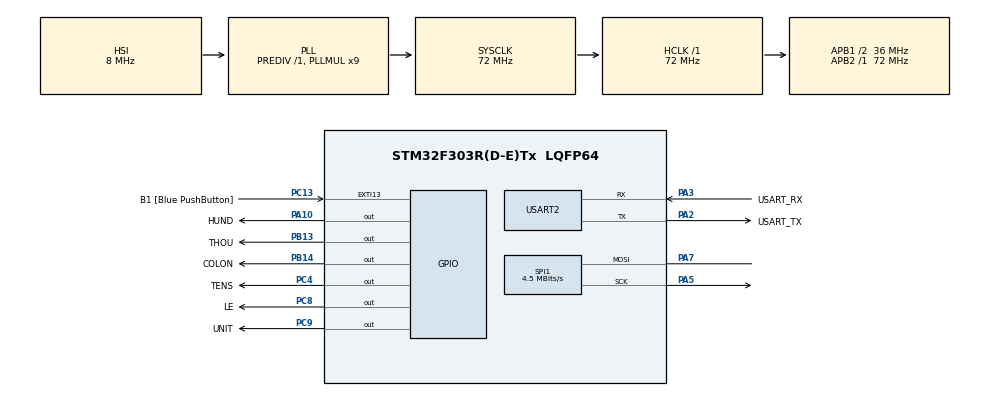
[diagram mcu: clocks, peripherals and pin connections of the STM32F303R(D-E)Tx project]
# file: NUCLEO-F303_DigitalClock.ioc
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ADC1.Channel-2\#ChannelRegularConversion=ADC_CHANNEL_TEMPSENSOR
ADC1.Channel-3\#ChannelRegularConversion=ADC_CHANNEL_VREFINT
ADC1.ContinuousConvMode=ENABLE
ADC1.DMAContinuousRequests=ENABLE
ADC1.NbrOfConversion=2
ADC1.NbrOfConversionFlag=1
ADC1.Offset-2\#ChannelRegularConversion=0
ADC1.Offset-3\#ChannelRegularConversion=0
ADC1.OffsetNumber-2\#ChannelRegularConversion=ADC_OFFSET_NONE
ADC1.OffsetNumber-3\#ChannelRegularConversion=ADC_OFFSET_NONE
ADC1.Rank-2\#ChannelRegularConversion=1
ADC1.Rank-3\#ChannelRegularConversion=2
ADC1.SamplingTime-2\#ChannelRegularConversion=ADC_SAMPLETIME_601CYCLES_5
ADC1.SamplingTime-3\#ChannelRegularConversion=ADC_SAMPLETIME_601CYCLES_5
ADC1.SamplingTimeOPAMP-3\#ChannelRegularConversion=ADC_SAMPLETIME_61CYCLES_5
ADC1.master=1
Dma.ADC1.0.Direction=DMA_PERIPH_TO_MEMORY
Dma.ADC1.0.Instance=DMA1_Channel1
Dma.ADC1.0.MemDataAlignment=DMA_MDATAALIGN_HALFWORD
Dma.ADC1.0.MemInc=DMA_MINC_ENABLE
Dma.ADC1.0.Mode=DMA_CIRCULAR
Dma.ADC1.0.PeriphDataAlignment=DMA_PDATAALIGN_HALFWORD
Dma.ADC1.0.PeriphInc=DMA_PINC_DISABLE
Dma.ADC1.0.Priority=DMA_PRIORITY_LOW
Dma.Request0=ADC1
Mcu.Family=STM32F3
Mcu.Name=STM32F303R(D-E)Tx
Mcu.Package=LQFP64
NVIC.DMA1_Channel1_IRQn=true\:0\:0\:false\:false\:true\:false\:true\:true
NVIC.PriorityGroup=NVIC_PRIORITYGROUP_0
NVIC.RTC_Alarm_IRQn=true\:0\:0\:false\:false\:true\:true\:true\:true
NVIC.TIM3_IRQn=true\:0\:0\:false\:false\:true\:true\:true\:true
PA10.GPIO_Label=HUND
PA10.Signal=GPIO_Output
PA13.GPIO_Label=TMS
PA13.Mode=Serial_Wire
PA13.Signal=SYS_JTMS-SWDIO
PA14.GPIO_Label=TCK
PA14.Mode=Serial_Wire
PA14.Signal=SYS_JTCK-SWCLK
PA2.GPIO_Label=USART_TX
PA2.GPIO_Mode=GPIO_MODE_AF_PP
PA2.GPIO_PuPd=GPIO_NOPULL
PA2.GPIO_Speed=GPIO_SPEED_FREQ_LOW
PA2.Mode=Asynchronous
PA2.Signal=USART2_TX
PA3.GPIO_Label=USART_RX
PA3.GPIO_Mode=GPIO_MODE_AF_PP
PA3.GPIO_PuPd=GPIO_NOPULL
PA3.GPIO_Speed=GPIO_SPEED_FREQ_LOW
PA3.Mode=Asynchronous
PA3.Signal=USART2_RX
PA5.Mode=Simplex_Bidirectional_Master
PA5.Signal=SPI1_SCK
PA7.Mode=Simplex_Bidirectional_Master
PA7.Signal=SPI1_MOSI
PB13.GPIO_Label=THOU
PB13.Signal=GPIO_Output
PB14.GPIO_Label=COLON
PB14.Signal=GPIO_Output
PB3.GPIO_Label=SWO
PB3.Signal=SYS_JTDO-TRACESWO
PC13.GPIO_Label=B1 [Blue PushButton]
PC13.GPIO_ModeDefaultEXTI=GPIO_MODE_IT_FALLING
PC13.Signal=GPXTI13
PC14-OSC32_IN.Mode=LSE-External-Oscillator
PC14-OSC32_IN.Signal=RCC_OSC32_IN
PC15-OSC32_OUT.Mode=LSE-External-Oscillator
PC15-OSC32_OUT.Signal=RCC_OSC32_OUT
PC4.GPIO_Label=TENS
PC4.Signal=GPIO_Output
PC8.GPIO_Label=LE
PC8.Signal=GPIO_Output
PC9.GPIO_Label=UNIT
PC9.Signal=GPIO_Output
PF0-OSC_IN.Mode=HSE-External-Clock-Source
PF0-OSC_IN.Signal=RCC_OSC_IN
PF1-OSC_OUT.Signal=RCC_OSC_OUT
ProjectManager.HeapSize=0x200
ProjectManager.StackSize=0x400
ProjectManager.TargetToolchain=CMake
RCC.AHBFreq_Value=72000000
RCC.APB1CLKDivider=RCC_HCLK_DIV2
RCC.APB1Freq_Value=36000000
RCC.APB1TimFreq_Value=72000000
RCC.APB2Freq_Value=72000000
RCC.APB2TimFreq_Value=72000000
RCC.CortexFreq_Value=72000000
RCC.HCLKFreq_Value=72000000
RCC.HSE_VALUE=8000000
RCC.HSI_VALUE=8000000
RCC.PLLM=8
RCC.PLLMUL=RCC_PLL_MUL9
RCC.PLLN=336
RCC.PLLP=RCC_PLLP_DIV4
RCC.PLLQ=7
RCC.RCC_PLLsource_Clock_Source_FROM_HSE=RCC_HSE_PREDIV_DIV2
RCC.RTCClockSelection=RCC_RTCCLKSOURCE_LSE
RCC.SYSCLKFreq_VALUE=72000000
RCC.SYSCLKSourceVirtual=RCC_SYSCLKSOURCE_PLLCLK
RCC.USBFreq_Value=72000000
RTC.Alarm-Alarm\ A=RTC_ALARM_A
RTC.AlarmMaskDateWeekDay-Alarm\ A=RTC_ALARMMASK_DATEWEEKDAY
RTC.AlarmMaskHours-Alarm\ A=RTC_ALARMMASK_HOURS
RTC.AlarmMaskMinutes-Alarm\ A=RTC_ALARMMASK_MINUTES
RTC.AlarmMaskSeconds-Alarm\ A=RTC_ALARMMASK_SECONDS
SPI1.BaudRatePrescaler=SPI_BAUDRATEPRESCALER_16
SPI1.CalculateBaudRate=4.5 MBits/s
SPI1.DataSize=SPI_DATASIZE_8BIT
SPI1.Direction=SPI_DIRECTION_1LINE
SPI1.Mode=SPI_MODE_MASTER
SPI1.VirtualType=VM_MASTER
TIM3.Period=360-1
TIM3.Prescaler=1000-1
USART2.VirtualMode-Asynchronous=VM_ASYNC
VP_ADC1_TempSens_Input.Mode=IN-TempSens
VP_ADC1_Vref_Input.Mode=IN-Vrefint
VP_RTC_VS_RTC_Activate.Mode=RTC_Enabled
VP_RTC_VS_RTC_Alarm_A_Intern.Mode=Alarm A
VP_RTC_VS_RTC_Calendar.Mode=RTC_Calendar
VP_TIM3_VS_ClockSourceINT.Mode=Internal
board=NUCLEO-F303RE

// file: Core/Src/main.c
/* USER CODE BEGIN Header */
/**
  ******************************************************************************
  * @file           : main.c
  * @brief          : Main program body
  ******************************************************************************
  * @attention
  *
  * Copyright (c) 2026 STMicroelectronics.
  * All rights reserved.
  *
  * This software is licensed under terms that can be found in the LICENSE file
  * in the root directory of this software component.
  * If no LICENSE file comes with this software, it is provided AS-IS.
  *
  ******************************************************************************
  */
/* USER CODE END Header */
#include "main.h"

/* USER CODE BEGIN Includes */
#include "TLC5917.h"
#include "cmsis_gcc.h"
#include <stdio.h>
/* USER CODE END Includes */

/* USER CODE BEGIN PTD */
typedef enum
{
    MODE_NORMAL,
    MODE_SET_HOURS,
    MODE_SET_MINUTES
} ClockMode;
/* USER CODE END PTD */

/* USER CODE BEGIN PD */
#define ARRAY_SIZE 10
/* USER CODE END PD */

ADC_HandleTypeDef hadc1;
DMA_HandleTypeDef hdma_adc1;

RTC_HandleTypeDef hrtc;

SPI_HandleTypeDef hspi1;

TIM_HandleTypeDef htim3;

UART_HandleTypeDef huart2;

/* USER CODE BEGIN PV */
TLC5917_HandleTypeDef tlc5917;

const uint8_t digitsArray[ARRAY_SIZE] = {0x3F, 0x06, 0x5B, 0x4F, 0x66, 0x6D, 0x7D, 0x07, 0x7F, 0x6F};

static volatile uint8_t thousand = 0x00; // Dígito 3 (Decenas de hora)
static volatile uint8_t hundred  = 0x00; // Dígito 2 (Unidades de hora)
static volatile uint8_t tens     = 0x00; // Dígito 1 (Decenas de minuto)
static volatile uint8_t unit     = 0x00; // Dígito 0 (Unidades de minuto)

static volatile uint8_t digitPin = 0;   // Índice de multiplexación
static volatile _Bool colonBlink = 0;   // Flag de parpadeo controlado por Alarma A

/* Variables de la máquina de estados del reloj */
static ClockMode currentMode = MODE_NORMAL;
static uint8_t setHours = 12;
static uint8_t setMinutes = 0;
/* USER CODE END PV */

void SystemClock_Config(void);
static void MX_GPIO_Init(void);
static void MX_DMA_Init(void);
static void MX_RTC_Init(void);
static void MX_SPI1_Init(void);
static void MX_TIM3_Init(void);
static void MX_USART2_UART_Init(void);
static void MX_ADC1_Init(void);
/* USER CODE BEGIN PFP */
void Display_Off(void);
void RTC_Set_Time(uint8_t hours, uint8_t minutes, uint8_t seconds);
void Update_Display_Segments(void);
void Handle_Button_Setting(void);
/* USER CODE END PFP */

int main(void)
{

  /* MCU Configuration--------------------------------------------------------*/

  /* Reset of all peripherals, Initializes the Flash interface and the Systick. */
  HAL_Init();

  /* Configure the system clock */
  SystemClock_Config();

  /* Initialize all configured peripherals */
  MX_GPIO_Init();
  MX_DMA_Init();
  MX_RTC_Init();
  MX_SPI1_Init();
  MX_TIM3_Init();
  MX_USART2_UART_Init();
  MX_ADC1_Init();
  /* USER CODE BEGIN 2 */
  Display_Off();
  TLC5917_Init(&tlc5917, &hspi1, LE_GPIO_Port, LE_Pin);

  HAL_TIM_Base_Start_IT(&htim3);
  /* USER CODE END 2 */

  /* Infinite loop */
  /* USER CODE BEGIN WHILE */
  while (1)
  {
    /* 1. Procesar el botón y los segmentos */
    Handle_Button_Setting();
    Update_Display_Segments();
    HAL_Delay(20);
    /* USER CODE END WHILE */

  }
}

void SystemClock_Config(void)
{
  RCC_OscInitTypeDef RCC_OscInitStruct = {0};
  RCC_ClkInitTypeDef RCC_ClkInitStruct = {0};
  RCC_PeriphCLKInitTypeDef PeriphClkInit = {0};

  /** Configure LSE Drive Capability
  */
  HAL_PWR_EnableBkUpAccess();
  __HAL_RCC_LSEDRIVE_CONFIG(RCC_LSEDRIVE_LOW);

  /** Initializes the RCC Oscillators according to the specified parameters
  * in the RCC_OscInitTypeDef structure.
  */
  RCC_OscInitStruct.OscillatorType = RCC_OSCILLATORTYPE_HSI|RCC_OSCILLATORTYPE_LSE;
  RCC_OscInitStruct.LSEState = RCC_LSE_ON;
  RCC_OscInitStruct.HSIState = RCC_HSI_ON;
  RCC_OscInitStruct.HSICalibrationValue = RCC_HSICALIBRATION_DEFAULT;
  RCC_OscInitStruct.PLL.PLLState = RCC_PLL_ON;
  RCC_OscInitStruct.PLL.PLLSource = RCC_PLLSOURCE_HSI;
  RCC_OscInitStruct.PLL.PLLMUL = RCC_PLL_MUL9;
  RCC_OscInitStruct.PLL.PREDIV = RCC_PREDIV_DIV1;
  if (HAL_RCC_OscConfig(&RCC_OscInitStruct) != HAL_OK)
  {
    Error_Handler();
  }

  /** Initializes the CPU, AHB and APB buses clocks
  */
  RCC_ClkInitStruct.ClockType = RCC_CLOCKTYPE_HCLK|RCC_CLOCKTYPE_SYSCLK
                              |RCC_CLOCKTYPE_PCLK1|RCC_CLOCKTYPE_PCLK2;
  RCC_ClkInitStruct.SYSCLKSource = RCC_SYSCLKSOURCE_PLLCLK;
  RCC_ClkInitStruct.AHBCLKDivider = RCC_SYSCLK_DIV1;
  RCC_ClkInitStruct.APB1CLKDivider = RCC_HCLK_DIV2;
  RCC_ClkInitStruct.APB2CLKDivider = RCC_HCLK_DIV1;

  if (HAL_RCC_ClockConfig(&RCC_ClkInitStruct, FLASH_LATENCY_2) != HAL_OK)
  {
    Error_Handler();
  }
  PeriphClkInit.PeriphClockSelection = RCC_PERIPHCLK_USART2|RCC_PERIPHCLK_RTC
                              |RCC_PERIPHCLK_ADC12|RCC_PERIPHCLK_TIM34;
  PeriphClkInit.Usart2ClockSelection = RCC_USART2CLKSOURCE_PCLK1;
  PeriphClkInit.Adc12ClockSelection = RCC_ADC12PLLCLK_DIV1;
  PeriphClkInit.RTCClockSelection = RCC_RTCCLKSOURCE_LSE;
  PeriphClkInit.Tim34ClockSelection = RCC_TIM34CLK_HCLK;
  if (HAL_RCCEx_PeriphCLKConfig(&PeriphClkInit) != HAL_OK)
  {
    Error_Handler();
  }
}

static void MX_ADC1_Init(void)
{

  ADC_MultiModeTypeDef multimode = {0};
  ADC_ChannelConfTypeDef sConfig = {0};

  /** Common config
  */
  hadc1.Instance = ADC1;
  hadc1.Init.ClockPrescaler = ADC_CLOCK_ASYNC_DIV1;
  hadc1.Init.Resolution = ADC_RESOLUTION_12B;
  hadc1.Init.ScanConvMode = ADC_SCAN_ENABLE;
  hadc1.Init.ContinuousConvMode = ENABLE;
  hadc1.Init.DiscontinuousConvMode = DISABLE;
  hadc1.Init.ExternalTrigConvEdge = ADC_EXTERNALTRIGCONVEDGE_NONE;
  hadc1.Init.ExternalTrigConv = ADC_SOFTWARE_START;
  hadc1.Init.DataAlign = ADC_DATAALIGN_RIGHT;
  hadc1.Init.NbrOfConversion = 2;
  hadc1.Init.DMAContinuousRequests = ENABLE;
  hadc1.Init.EOCSelection = ADC_EOC_SINGLE_CONV;
  hadc1.Init.LowPowerAutoWait = DISABLE;
  hadc1.Init.Overrun = ADC_OVR_DATA_OVERWRITTEN;
  if (HAL_ADC_Init(&hadc1) != HAL_OK)
  {
    Error_Handler();
  }

  /** Configure the ADC multi-mode
  */
  multimode.Mode = ADC_MODE_INDEPENDENT;
  if (HAL_ADCEx_MultiModeConfigChannel(&hadc1, &multimode) != HAL_OK)
  {
    Error_Handler();
  }

  /** Configure Regular Channel
  */
  sConfig.Channel = ADC_CHANNEL_TEMPSENSOR;
  sConfig.Rank = ADC_REGULAR_RANK_1;
  sConfig.SingleDiff = ADC_SINGLE_ENDED;
  sConfig.SamplingTime = ADC_SAMPLETIME_601CYCLES_5;
  sConfig.OffsetNumber = ADC_OFFSET_NONE;
  sConfig.Offset = 0;
  if (HAL_ADC_ConfigChannel(&hadc1, &sConfig) != HAL_OK)
  {
    Error_Handler();
  }

  /** Configure Regular Channel
  */
  sConfig.Channel = ADC_CHANNEL_VREFINT;
  sConfig.Rank = ADC_REGULAR_RANK_2;
  if (HAL_ADC_ConfigChannel(&hadc1, &sConfig) != HAL_OK)
  {
    Error_Handler();
  }

}

static void MX_RTC_Init(void)
{

  RTC_TimeTypeDef sTime = {0};
  RTC_DateTypeDef sDate = {0};
  RTC_AlarmTypeDef sAlarm = {0};

  /** Initialize RTC Only
  */
  hrtc.Instance = RTC;
  hrtc.Init.HourFormat = RTC_HOURFORMAT_24;
  hrtc.Init.AsynchPrediv = 127;
  hrtc.Init.SynchPrediv = 255;
  hrtc.Init.OutPut = RTC_OUTPUT_DISABLE;
  hrtc.Init.OutPutPolarity = RTC_OUTPUT_POLARITY_HIGH;
  hrtc.Init.OutPutType = RTC_OUTPUT_TYPE_OPENDRAIN;
  if (HAL_RTC_Init(&hrtc) != HAL_OK)
  {
    Error_Handler();
  }

  /** Initialize RTC and set the Time and Date
  */
  sTime.Hours = 0x0;
  sTime.Minutes = 0x0;
  sTime.Seconds = 0x0;
  sTime.DayLightSaving = RTC_DAYLIGHTSAVING_NONE;
  sTime.StoreOperation = RTC_STOREOPERATION_RESET;
  if (HAL_RTC_SetTime(&hrtc, &sTime, RTC_FORMAT_BCD) != HAL_OK)
  {
    Error_Handler();
  }
  sDate.WeekDay = RTC_WEEKDAY_MONDAY;
  sDate.Month = RTC_MONTH_JANUARY;
  sDate.Date = 0x1;
  sDate.Year = 0x0;

  if (HAL_RTC_SetDate(&hrtc, &sDate, RTC_FORMAT_BCD) != HAL_OK)
  {
    Error_Handler();
  }

  /** Enable the Alarm A
  */
  sAlarm.AlarmTime.Hours = 0x0;
  sAlarm.AlarmTime.Minutes = 0x0;
  sAlarm.AlarmTime.Seconds = 0x0;
  sAlarm.AlarmTime.SubSeconds = 0x0;
  sAlarm.AlarmTime.DayLightSaving = RTC_DAYLIGHTSAVING_NONE;
  sAlarm.AlarmTime.StoreOperation = RTC_STOREOPERATION_RESET;
  sAlarm.AlarmMask = RTC_ALARMMASK_ALL;
  sAlarm.AlarmSubSecondMask = RTC_ALARMSUBSECONDMASK_ALL;
  sAlarm.AlarmDateWeekDaySel = RTC_ALARMDATEWEEKDAYSEL_DATE;
  sAlarm.AlarmDateWeekDay = 0x1;
  sAlarm.Alarm = RTC_ALARM_A;
  if (HAL_RTC_SetAlarm_IT(&hrtc, &sAlarm, RTC_FORMAT_BCD) != HAL_OK)
  {
    Error_Handler();
  }

}

static void MX_SPI1_Init(void)
{

  /* SPI1 parameter configuration*/
  hspi1.Instance = SPI1;
  hspi1.Init.Mode = SPI_MODE_MASTER;
  hspi1.Init.Direction = SPI_DIRECTION_1LINE;
  hspi1.Init.DataSize = SPI_DATASIZE_8BIT;
  hspi1.Init.CLKPolarity = SPI_POLARITY_LOW;
  hspi1.Init.CLKPhase = SPI_PHASE_1EDGE;
  hspi1.Init.NSS = SPI_NSS_SOFT;
  hspi1.Init.BaudRatePrescaler = SPI_BAUDRATEPRESCALER_16;
  hspi1.Init.FirstBit = SPI_FIRSTBIT_MSB;
  hspi1.Init.TIMode = SPI_TIMODE_DISABLE;
  hspi1.Init.CRCCalculation = SPI_CRCCALCULATION_DISABLE;
  hspi1.Init.CRCPolynomial = 7;
  hspi1.Init.CRCLength = SPI_CRC_LENGTH_DATASIZE;
  hspi1.Init.NSSPMode = SPI_NSS_PULSE_ENABLE;
  if (HAL_SPI_Init(&hspi1) != HAL_OK)
  {
    Error_Handler();
  }

}

static void MX_TIM3_Init(void)
{

  TIM_ClockConfigTypeDef sClockSourceConfig = {0};
  TIM_MasterConfigTypeDef sMasterConfig = {0};

  htim3.Instance = TIM3;
  htim3.Init.Prescaler = 1000-1;
  htim3.Init.CounterMode = TIM_COUNTERMODE_UP;
  htim3.Init.Period = 360-1;
  htim3.Init.ClockDivision = TIM_CLOCKDIVISION_DIV1;
  htim3.Init.AutoReloadPreload = TIM_AUTORELOAD_PRELOAD_DISABLE;
  if (HAL_TIM_Base_Init(&htim3) != HAL_OK)
  {
    Error_Handler();
  }
  sClockSourceConfig.ClockSource = TIM_CLOCKSOURCE_INTERNAL;
  if (HAL_TIM_ConfigClockSource(&htim3, &sClockSourceConfig) != HAL_OK)
  {
    Error_Handler();
  }
  sMasterConfig.MasterOutputTrigger = TIM_TRGO_RESET;
  sMasterConfig.MasterSlaveMode = TIM_MASTERSLAVEMODE_DISABLE;
  if (HAL_TIMEx_MasterConfigSynchronization(&htim3, &sMasterConfig) != HAL_OK)
  {
    Error_Handler();
  }

}

static void MX_USART2_UART_Init(void)
{

  huart2.Instance = USART2;
  huart2.Init.BaudRate = 38400;
  huart2.Init.WordLength = UART_WORDLENGTH_8B;
  huart2.Init.StopBits = UART_STOPBITS_1;
  huart2.Init.Parity = UART_PARITY_NONE;
  huart2.Init.Mode = UART_MODE_TX_RX;
  huart2.Init.HwFlowCtl = UART_HWCONTROL_NONE;
  huart2.Init.OverSampling = UART_OVERSAMPLING_16;
  huart2.Init.OneBitSampling = UART_ONE_BIT_SAMPLE_DISABLE;
  huart2.AdvancedInit.AdvFeatureInit = UART_ADVFEATURE_NO_INIT;
  if (HAL_UART_Init(&huart2) != HAL_OK)
  {
    Error_Handler();
  }

}

static void MX_DMA_Init(void)
{

  /* DMA controller clock enable */
  __HAL_RCC_DMA1_CLK_ENABLE();

  /* DMA interrupt init */
  /* DMA1_Channel1_IRQn interrupt configuration */
  HAL_NVIC_SetPriority(DMA1_Channel1_IRQn, 0, 0);
  HAL_NVIC_EnableIRQ(DMA1_Channel1_IRQn);

}

static void MX_GPIO_Init(void)
{
  GPIO_InitTypeDef GPIO_InitStruct = {0};

  /* GPIO Ports Clock Enable */
  __HAL_RCC_GPIOC_CLK_ENABLE();
  __HAL_RCC_GPIOF_CLK_ENABLE();
  __HAL_RCC_GPIOA_CLK_ENABLE();
  __HAL_RCC_GPIOB_CLK_ENABLE();

  /*Configure GPIO pin Output Level */
  HAL_GPIO_WritePin(GPIOC, TENS_Pin|LE_Pin|UNIT_Pin, GPIO_PIN_RESET);

  /*Configure GPIO pin Output Level */
  HAL_GPIO_WritePin(GPIOB, THOU_Pin|COLON_Pin, GPIO_PIN_RESET);

  /*Configure GPIO pin Output Level */
  HAL_GPIO_WritePin(HUND_GPIO_Port, HUND_Pin, GPIO_PIN_RESET);

  /*Configure GPIO pin : B1_Pin */
  GPIO_InitStruct.Pin = B1_Pin;
  GPIO_InitStruct.Mode = GPIO_MODE_IT_FALLING;
  GPIO_InitStruct.Pull = GPIO_NOPULL;
  HAL_GPIO_Init(B1_GPIO_Port, &GPIO_InitStruct);

  /*Configure GPIO pins : TENS_Pin LE_Pin UNIT_Pin */
  GPIO_InitStruct.Pin = TENS_Pin|LE_Pin|UNIT_Pin;
  GPIO_InitStruct.Mode = GPIO_MODE_OUTPUT_PP;
  GPIO_InitStruct.Pull = GPIO_NOPULL;
  GPIO_InitStruct.Speed = GPIO_SPEED_FREQ_LOW;
  HAL_GPIO_Init(GPIOC, &GPIO_InitStruct);

  /*Configure GPIO pins : THOU_Pin COLON_Pin */
  GPIO_InitStruct.Pin = THOU_Pin|COLON_Pin;
  GPIO_InitStruct.Mode = GPIO_MODE_OUTPUT_PP;
  GPIO_InitStruct.Pull = GPIO_NOPULL;
  GPIO_InitStruct.Speed = GPIO_SPEED_FREQ_LOW;
  HAL_GPIO_Init(GPIOB, &GPIO_InitStruct);

  /*Configure GPIO pin : HUND_Pin */
  GPIO_InitStruct.Pin = HUND_Pin;
  GPIO_InitStruct.Mode = GPIO_MODE_OUTPUT_PP;
  GPIO_InitStruct.Pull = GPIO_NOPULL;
  GPIO_InitStruct.Speed = GPIO_SPEED_FREQ_LOW;
  HAL_GPIO_Init(HUND_GPIO_Port, &GPIO_InitStruct);

}

/* USER CODE BEGIN 4 */
void Display_Off(void)
{
  HAL_GPIO_WritePin(UNIT_GPIO_Port, UNIT_Pin, GPIO_PIN_SET);
  HAL_GPIO_WritePin(TENS_GPIO_Port, TENS_Pin, GPIO_PIN_SET);
  HAL_GPIO_WritePin(HUND_GPIO_Port, HUND_Pin, GPIO_PIN_SET);
  HAL_GPIO_WritePin(THOU_GPIO_Port, THOU_Pin, GPIO_PIN_SET);
}

/* --- Actualización lógica de los segmentos --- */
void Update_Display_Segments(void)
{
  if (currentMode == MODE_NORMAL)
  {
    RTC_TimeTypeDef sTime = {0};
    RTC_DateTypeDef sDate = {0};

    // Lectura del RTC (GetTime debe llamarse antes de GetDate)
    HAL_RTC_GetTime(&hrtc, &sTime, RTC_FORMAT_BIN);
    HAL_RTC_GetDate(&hrtc, &sDate, RTC_FORMAT_BIN);
    // Los dos puntos parpadean según el flag de la alarma
    uint8_t colonMask = colonBlink ? 0x80 : 0x00;
    thousand = digitsArray[sTime.Hours / 10] | colonMask;
    hundred  = digitsArray[sTime.Hours % 10] | colonMask;
    tens     = digitsArray[sTime.Minutes / 10] | colonMask;
    unit     = digitsArray[sTime.Minutes % 10] | colonMask;
  }
  else if (currentMode == MODE_SET_HOURS)
  {
    // Parpadeo rápido (4Hz / 250ms) en la sección de horas, minutos estables, ":" encendidos
    _Bool blinkOn = (HAL_GetTick() / 250) % 2 == 0;
    thousand = blinkOn ? (digitsArray[setHours / 10] | 0x80) : (0x00 | 0x80);
    hundred  = blinkOn ? (digitsArray[setHours % 10] | 0x80) : (0x00 | 0x80);
    tens     = digitsArray[setMinutes / 10] | 0x80;
    unit     = digitsArray[setMinutes % 10] | 0x80;
  }
  else if (currentMode == MODE_SET_MINUTES)
  {
    // Parpadeo rápido (4Hz / 250ms) en la sección de minutos, horas estables, ":" encendidos
    _Bool blinkOn = (HAL_GetTick() / 250) % 2 == 0;
    thousand = digitsArray[setHours / 10] | 0x80;
    hundred  = digitsArray[setHours % 10] | 0x80;
    tens     = blinkOn ? (digitsArray[setMinutes / 10] | 0x80) : (0x00 | 0x80);
    unit     = blinkOn ? (digitsArray[setMinutes % 10] | 0x80) : (0x00 | 0x80);
  }
}
/* --- Máquina de Estados para Configuración con Un Botón (B1) --- */
void Handle_Button_Setting(void)
{
  static uint32_t buttonPressStart = 0;
  static _Bool buttonWasPressed = 0;
  // Botón B1 en tarjeta Nucleo es activo en bajo (Pull-Up externo)
  _Bool buttonIsPressed = (HAL_GPIO_ReadPin(B1_GPIO_Port, B1_Pin) == GPIO_PIN_RESET);
  if (buttonIsPressed && !buttonWasPressed)
  {
    // Transición de reposo a presionado (flanco de bajada)
    buttonPressStart = HAL_GetTick();
    buttonWasPressed = 1;
  }
  else if (!buttonIsPressed && buttonWasPressed)
  {
    // Transición de presionado a liberado (flanco de subida)
    uint32_t pressDuration = HAL_GetTick() - buttonPressStart;
    buttonWasPressed = 0;
    // Pulsación corta (entre 50 ms y 1.5 segundos)
    if (pressDuration >= 50 && pressDuration < 1500)
    {
      if (currentMode == MODE_SET_HOURS)
      {
        setHours = (setHours + 1) % 24;
      }
      else if (currentMode == MODE_SET_MINUTES)
      {
        setMinutes = (setMinutes + 1) % 60;
      }
    }
  }
  else if (buttonIsPressed && buttonWasPressed)
  {
    // El botón se mantiene presionado. Evaluar pulsación larga (2 segundos o más)
    uint32_t pressDuration = HAL_GetTick() - buttonPressStart;
    if (pressDuration >= 2000)
    {
      // Limpiar bandera para requerir soltar el botón antes de la próxima acción
      buttonWasPressed = 0;
      if (currentMode == MODE_NORMAL)
      {
        // Entrar a configuración de Horas y cargar la hora actual
        RTC_TimeTypeDef sTime = {0};
        HAL_RTC_GetTime(&hrtc, &sTime, RTC_FORMAT_BIN);
        setHours = sTime.Hours;
        setMinutes = sTime.Minutes;
        currentMode = MODE_SET_HOURS;
      }
      else if (currentMode == MODE_SET_HOURS)
      {
        // Pasar a configuración de Minutos
        currentMode = MODE_SET_MINUTES;
      }
      else if (currentMode == MODE_SET_MINUTES)
      {
        // Guardar valores modificados en el RTC y volver a Modo Normal
        RTC_Set_Time(setHours, setMinutes, 0);
        currentMode = MODE_NORMAL;
      }
    }
  }
}
/* --- Callback de Interrupción de Alarma A (Cada 1 segundo) --- */
void HAL_RTC_AlarmAEventCallback(RTC_HandleTypeDef *hrtc)
{
  // Conmuta el estado de los dos puntos del reloj
  colonBlink = !colonBlink;
}
/* --- Rutina de Interrupción del Temporizador de Multiplexado (TIM3 - 5 ms) --- */
void HAL_TIM_PeriodElapsedCallback(TIM_HandleTypeDef *htim)
{
  if (htim->Instance == TIM3)
  {
    // 1. BLANKING: Apaga todos los transistores (Pines en HIGH)
    Display_Off();
    // 2. Cargar datos en TLC5917 y habilitar el transistor correspondiente (Pin en LOW)
    switch (digitPin)
    {
      case 0:
        TLC5917_WriteRegister(&tlc5917, unit);
        HAL_GPIO_WritePin(UNIT_GPIO_Port, UNIT_Pin, GPIO_PIN_RESET);
        break;
      case 1:
        TLC5917_WriteRegister(&tlc5917, tens);
        HAL_GPIO_WritePin(TENS_GPIO_Port, TENS_Pin, GPIO_PIN_RESET);
        break;
      case 2:
        TLC5917_WriteRegister(&tlc5917, hundred);
        HAL_GPIO_WritePin(HUND_GPIO_Port, HUND_Pin, GPIO_PIN_RESET);
        break;
      case 3:
        TLC5917_WriteRegister(&tlc5917, thousand);
        HAL_GPIO_WritePin(THOU_GPIO_Port, THOU_Pin, GPIO_PIN_RESET);
        break;
    }
    // Incrementar e indexar el multiplexor
    digitPin++;
    if (digitPin >= 4) {
      digitPin = 0;
    }
  }
}

/* --- Configurar hora en el RTC --- */
void RTC_Set_Time(uint8_t hours, uint8_t minutes, uint8_t seconds)
{
  RTC_TimeTypeDef sTime = {0};
  sTime.Hours = hours;
  sTime.Minutes = minutes;
  sTime.Seconds = seconds;
  sTime.DayLightSaving = RTC_DAYLIGHTSAVING_NONE;
  sTime.StoreOperation = RTC_STOREOPERATION_RESET;

  if (HAL_RTC_SetTime(&hrtc, &sTime, RTC_FORMAT_BIN) != HAL_OK)
  {
    Error_Handler();
  }
}

/* USER CODE END 4 */

void Error_Handler(void)
{
  __disable_irq();
  while (1)
  {
  }
}
